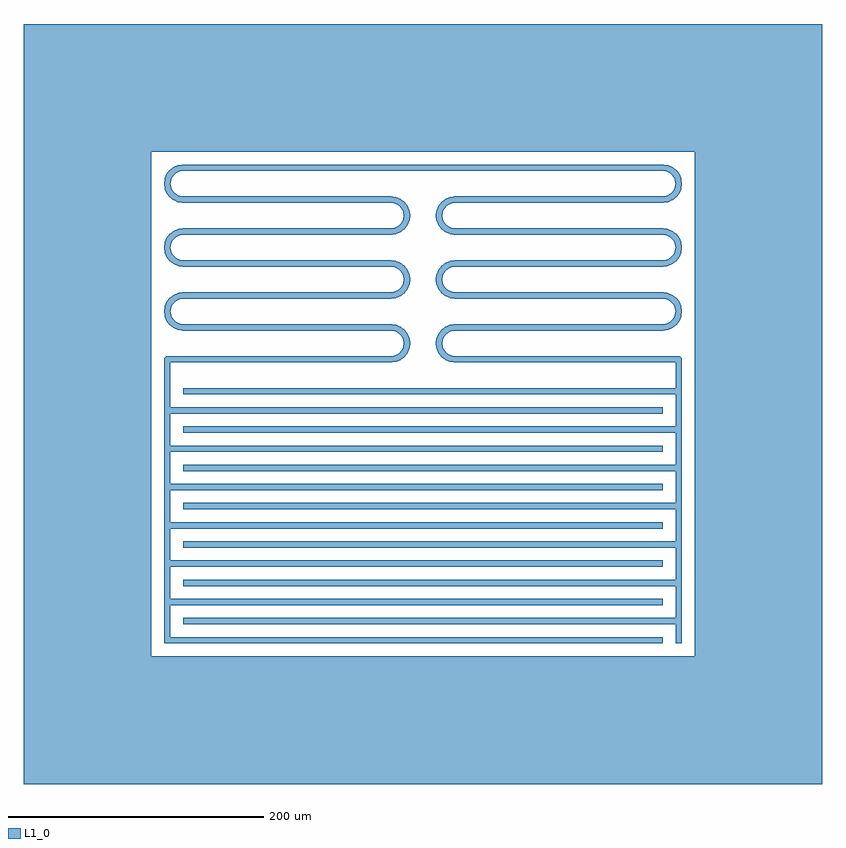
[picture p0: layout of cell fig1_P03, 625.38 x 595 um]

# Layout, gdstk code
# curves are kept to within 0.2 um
import gdstk
lib = gdstk.Library(unit=1e-6, precision=1e-09)
def R(c, l, rs):  # rectangles x0, y0, x1, y1
    for r in rs: c.add(gdstk.rectangle(r[:2], r[2:], *l))
def A(c, l, x, y, w, h, nx, ny, dx, dy):  # array of equal rectangles
    R(c, l, [(x+i*dx, y+j*dy, x+i*dx+w, y+j*dy+h) for i in range(nx) for j in range(ny)])
def P(c, l, *ps):  # polygons
    for p in ps: c.add(gdstk.Polygon(p, *l))
L1_0 = (1, 0)

fig1_p03 = lib.new_cell('fig1_P03')
A(fig1_p03, L1_0, -202.691, 0, 390.382, 5, 1, 7, 0, 30)
A(fig1_p03, L1_0, -187.691, 15, 390.382, 5, 1, 7, 0, 30)
A(fig1_p03, L1_0, -187.691, 245, 162.691, 5, 1, 5, 0, 25)
A(fig1_p03, L1_0, 25, 245, 162.691, 5, 1, 5, 0, 25)
R(fig1_p03, L1_0, [(-312.691,-110,312.691,-10), (-312.691,-10,-212.691,385), (212.691,-10,312.691,385), (-202.691,0,-197.691,200), (197.691,0,202.691,200), (-202.691,197.5,-197.691,222.5), (197.691,197.5,202.691,222.5), (-200.191,220,-25,225), (25,220,200.191,225), (-187.691,370,187.691,375), (-312.691,385,312.691,485)])
P(fig1_p03, L1_0, [(14.979,334.674),(10.021,335.326),(10.447,338.562),(15.405,337.909)],
  [(12.926,335.735),(11.158,336.467),(10.426,338.235),(11.158,340.003),(12.926,340.735),(14.694,340.003),(15.426,338.235),(14.694,336.467)],
  [(12.5,332.5),(10.732,333.232),(10,335),(10.732,336.768),(12.5,337.5),(14.268,336.768),(15,335),(14.268,333.232)],
  [(195.463,347.191),(192.419,351.158),(195.008,353.145),(198.052,349.178)],
  [(191.883,345.616),(189.97,350.236),(192.984,351.484),(194.898,346.865)],
  [(188.017,345.021),(187.365,349.979),(190.6,350.405),(191.253,345.447)],
  [(190.6,369.595),(187.365,370.021),(188.017,374.979),(191.253,374.553)],
  [(192.984,368.516),(189.97,369.764),(191.883,374.384),(194.898,373.135)],
  [(195.008,366.855),(192.419,368.842),(195.463,372.809),(198.052,370.822)],
  [(196.533,364.728),(194.546,367.317),(198.513,370.361),(200.5,367.772)],
  [(197.455,362.279),(196.207,365.293),(200.826,367.207),(202.075,364.192)],
  [(197.712,359.674),(197.286,362.909),(202.244,363.562),(202.67,360.326)],
  [(202.244,356.438),(197.286,357.091),(197.712,360.326),(202.67,359.674)],
  [(187.691,370),(185.923,370.732),(185.191,372.5),(185.923,374.268),(187.691,375),(189.459,374.268),(190.191,372.5),(189.459,370.732)],
  [(190.926,369.574),(189.158,370.306),(188.426,372.074),(189.158,373.842),(190.926,374.574),(192.694,373.842),(193.426,372.074),(192.694,370.306)],
  [(193.941,368.325),(192.173,369.058),(191.441,370.825),(192.173,372.593),(193.941,373.325),(195.709,372.593),(196.441,370.825),(195.709,369.058)],
  [(196.53,366.339),(194.762,367.071),(194.03,368.839),(194.762,370.607),(196.53,371.339),(198.298,370.607),(199.03,368.839),(198.298,367.071)],
  [(198.516,363.75),(196.749,364.482),(196.016,366.25),(196.749,368.018),(198.516,368.75),(200.284,368.018),(201.016,366.25),(200.284,364.482)],
  [(199.765,360.735),(197.997,361.467),(197.265,363.235),(197.997,365.003),(199.765,365.735),(201.533,365.003),(202.265,363.235),(201.533,361.467)],
  [(200.191,357.5),(198.423,358.232),(197.691,360),(198.423,361.768),(200.191,362.5),(201.959,361.768),(202.691,360),(201.959,358.232)],
  [(199.765,354.265),(197.997,354.997),(197.265,356.765),(197.997,358.533),(199.765,359.265),(201.533,358.533),(202.265,356.765),(201.533,354.997)],
  [(198.516,351.25),(196.749,351.982),(196.016,353.75),(196.749,355.518),(198.516,356.25),(200.284,355.518),(201.016,353.75),(200.284,351.982)],
  [(196.53,348.661),(194.762,349.393),(194.03,351.161),(194.762,352.929),(196.53,353.661),(198.298,352.929),(199.03,351.161),(198.298,349.393)],
  [(193.941,346.675),(192.173,347.407),(191.441,349.175),(192.173,350.942),(193.941,351.675),(195.709,350.942),(196.441,349.175),(195.709,347.407)],
  [(190.926,345.426),(189.158,346.158),(188.426,347.926),(189.158,349.694),(190.926,350.426),(192.694,349.694),(193.426,347.926),(192.694,346.158)],
  [(187.691,345),(185.923,345.732),(185.191,347.5),(185.923,349.268),(187.691,350),(189.459,349.268),(190.191,347.5),(189.459,345.732)],
  [(200.826,352.793),(196.207,354.707),(197.455,357.721),(202.075,355.808)],
  [(198.513,349.639),(194.546,352.683),(196.533,355.272),(200.5,352.228)],
  [(19.707,343.516),(17.793,348.135),(20.808,349.384),(22.721,344.764)],
  [(17.683,341.855),(14.639,345.822),(17.228,347.809),(20.272,343.842)],
  [(16.158,339.728),(12.191,342.772),(14.178,345.361),(18.145,342.317)],
  [(25,345),(23.232,345.732),(22.5,347.5),(23.232,349.268),(25,350),(26.768,349.268),(27.5,347.5),(26.768,345.732)],
  [(21.765,344.574),(19.997,345.306),(19.265,347.074),(19.997,348.842),(21.765,349.574),(23.533,348.842),(24.265,347.074),(23.533,345.306)],
  [(18.75,343.325),(16.982,344.058),(16.25,345.825),(16.982,347.593),(18.75,348.325),(20.518,347.593),(21.25,345.825),(20.518,344.058)],
  [(16.161,341.339),(14.393,342.071),(13.661,343.839),(14.393,345.607),(16.161,346.339),(17.929,345.607),(18.661,343.839),(17.929,342.071)],
  [(14.175,338.75),(12.407,339.482),(11.675,341.25),(12.407,343.018),(14.175,343.75),(15.942,343.018),(16.675,341.25),(15.942,339.482)],
  [(15.236,337.279),(10.616,339.192),(11.865,342.207),(16.484,340.293)],
  [(22.091,344.595),(21.438,349.553),(24.674,349.979),(25.326,345.021)],
  [(16.158,239.728),(12.191,242.772),(14.178,245.361),(18.145,242.317)],
  [(15.236,237.279),(10.616,239.192),(11.865,242.207),(16.484,240.293)],
  [(14.979,234.674),(10.021,235.326),(10.447,238.562),(15.405,237.909)],
  [(10.447,231.438),(10.021,234.674),(14.979,235.326),(15.405,232.091)],
  [(11.865,227.793),(10.616,230.808),(15.236,232.721),(16.484,229.707)],
  [(14.178,224.639),(12.191,227.228),(16.158,230.272),(18.145,227.683)],
  [(17.228,222.191),(14.639,224.178),(17.683,228.145),(20.272,226.158)],
  [(20.808,220.616),(17.793,221.865),(19.707,226.484),(22.721,225.236)],
  [(24.674,220.021),(21.438,220.447),(22.091,225.405),(25.326,224.979)],
  [(20.808,320.616),(17.793,321.865),(19.707,326.484),(22.721,325.236)],
  [(24.674,320.021),(21.438,320.447),(22.091,325.405),(25.326,324.979)],
  [(10.447,331.438),(10.021,334.674),(14.979,335.326),(15.405,332.091)],
  [(11.865,327.793),(10.616,330.808),(15.236,332.721),(16.484,329.707)],
  [(22.091,294.595),(21.438,299.553),(24.674,299.979),(25.326,295.021)],
  [(19.707,293.516),(17.793,298.135),(20.808,299.384),(22.721,294.764)],
  [(17.683,291.855),(14.639,295.822),(17.228,297.809),(20.272,293.842)],
  [(16.158,289.728),(12.191,292.772),(14.178,295.361),(18.145,292.317)],
  [(15.236,287.279),(10.616,289.192),(11.865,292.207),(16.484,290.293)],
  [(14.979,284.674),(10.021,285.326),(10.447,288.562),(15.405,287.909)],
  [(10.447,281.438),(10.021,284.674),(14.979,285.326),(15.405,282.091)],
  [(11.865,277.793),(10.616,280.808),(15.236,282.721),(16.484,279.707)],
  [(14.178,274.639),(12.191,277.228),(16.158,280.272),(18.145,277.683)],
  [(17.228,272.191),(14.639,274.178),(17.683,278.145),(20.272,276.158)],
  [(20.808,270.616),(17.793,271.865),(19.707,276.484),(22.721,275.236)],
  [(24.674,270.021),(21.438,270.447),(22.091,275.405),(25.326,274.979)],
  [(14.178,324.639),(12.191,327.228),(16.158,330.272),(18.145,327.683)],
  [(17.228,322.191),(14.639,324.178),(17.683,328.145),(20.272,326.158)],
  [(22.091,244.595),(21.438,249.553),(24.674,249.979),(25.326,245.021)],
  [(19.707,243.516),(17.793,248.135),(20.808,249.384),(22.721,244.764)],
  [(17.683,241.855),(14.639,245.822),(17.228,247.809),(20.272,243.842)],
  [(12.926,329.265),(11.158,329.997),(10.426,331.765),(11.158,333.533),(12.926,334.265),(14.694,333.533),(15.426,331.765),(14.694,329.997)],
  [(14.175,326.25),(12.407,326.982),(11.675,328.75),(12.407,330.518),(14.175,331.25),(15.942,330.518),(16.675,328.75),(15.942,326.982)],
  [(16.161,323.661),(14.393,324.393),(13.661,326.161),(14.393,327.929),(16.161,328.661),(17.929,327.929),(18.661,326.161),(17.929,324.393)],
  [(18.75,321.675),(16.982,322.407),(16.25,324.175),(16.982,325.942),(18.75,326.675),(20.518,325.942),(21.25,324.175),(20.518,322.407)],
  [(21.765,320.426),(19.997,321.158),(19.265,322.926),(19.997,324.694),(21.765,325.426),(23.533,324.694),(24.265,322.926),(23.533,321.158)],
  [(25,320),(23.232,320.732),(22.5,322.5),(23.232,324.268),(25,325),(26.768,324.268),(27.5,322.5),(26.768,320.732)],
  [(25,295),(23.232,295.732),(22.5,297.5),(23.232,299.268),(25,300),(26.768,299.268),(27.5,297.5),(26.768,295.732)],
  [(21.765,294.574),(19.997,295.306),(19.265,297.074),(19.997,298.842),(21.765,299.574),(23.533,298.842),(24.265,297.074),(23.533,295.306)],
  [(18.75,293.325),(16.982,294.058),(16.25,295.825),(16.982,297.593),(18.75,298.325),(20.518,297.593),(21.25,295.825),(20.518,294.058)],
  [(16.161,291.339),(14.393,292.071),(13.661,293.839),(14.393,295.607),(16.161,296.339),(17.929,295.607),(18.661,293.839),(17.929,292.071)],
  [(14.175,288.75),(12.407,289.482),(11.675,291.25),(12.407,293.018),(14.175,293.75),(15.942,293.018),(16.675,291.25),(15.942,289.482)],
  [(12.926,285.735),(11.158,286.467),(10.426,288.235),(11.158,290.003),(12.926,290.735),(14.694,290.003),(15.426,288.235),(14.694,286.467)],
  [(12.5,282.5),(10.732,283.232),(10,285),(10.732,286.768),(12.5,287.5),(14.268,286.768),(15,285),(14.268,283.232)],
  [(12.926,279.265),(11.158,279.997),(10.426,281.765),(11.158,283.533),(12.926,284.265),(14.694,283.533),(15.426,281.765),(14.694,279.997)],
  [(14.175,276.25),(12.407,276.982),(11.675,278.75),(12.407,280.518),(14.175,281.25),(15.942,280.518),(16.675,278.75),(15.942,276.982)],
  [(16.161,273.661),(14.393,274.393),(13.661,276.161),(14.393,277.929),(16.161,278.661),(17.929,277.929),(18.661,276.161),(17.929,274.393)],
  [(18.75,271.675),(16.982,272.407),(16.25,274.175),(16.982,275.942),(18.75,276.675),(20.518,275.942),(21.25,274.175),(20.518,272.407)],
  [(21.765,270.426),(19.997,271.158),(19.265,272.926),(19.997,274.694),(21.765,275.426),(23.533,274.694),(24.265,272.926),(23.533,271.158)],
  [(25,270),(23.232,270.732),(22.5,272.5),(23.232,274.268),(25,275),(26.768,274.268),(27.5,272.5),(26.768,270.732)],
  [(25,245),(23.232,245.732),(22.5,247.5),(23.232,249.268),(25,250),(26.768,249.268),(27.5,247.5),(26.768,245.732)],
  [(21.765,244.574),(19.997,245.306),(19.265,247.074),(19.997,248.842),(21.765,249.574),(23.533,248.842),(24.265,247.074),(23.533,245.306)],
  [(18.75,243.325),(16.982,244.058),(16.25,245.825),(16.982,247.593),(18.75,248.325),(20.518,247.593),(21.25,245.825),(20.518,244.058)],
  [(16.161,241.339),(14.393,242.071),(13.661,243.839),(14.393,245.607),(16.161,246.339),(17.929,245.607),(18.661,243.839),(17.929,242.071)],
  [(14.175,238.75),(12.407,239.482),(11.675,241.25),(12.407,243.018),(14.175,243.75),(15.942,243.018),(16.675,241.25),(15.942,239.482)],
  [(12.926,235.735),(11.158,236.467),(10.426,238.235),(11.158,240.003),(12.926,240.735),(14.694,240.003),(15.426,238.235),(14.694,236.467)],
  [(12.5,232.5),(10.732,233.232),(10,235),(10.732,236.768),(12.5,237.5),(14.268,236.768),(15,235),(14.268,233.232)],
  [(12.926,229.265),(11.158,229.997),(10.426,231.765),(11.158,233.533),(12.926,234.265),(14.694,233.533),(15.426,231.765),(14.694,229.997)],
  [(14.175,226.25),(12.407,226.982),(11.675,228.75),(12.407,230.518),(14.175,231.25),(15.942,230.518),(16.675,228.75),(15.942,226.982)],
  [(16.161,223.661),(14.393,224.393),(13.661,226.161),(14.393,227.929),(16.161,228.661),(17.929,227.929),(18.661,226.161),(17.929,224.393)],
  [(18.75,221.675),(16.982,222.407),(16.25,224.175),(16.982,225.942),(18.75,226.675),(20.518,225.942),(21.25,224.175),(20.518,222.407)],
  [(21.765,220.426),(19.997,221.158),(19.265,222.926),(19.997,224.694),(21.765,225.426),(23.533,224.694),(24.265,222.926),(23.533,221.158)],
  [(25,220),(23.232,220.732),(22.5,222.5),(23.232,224.268),(25,225),(26.768,224.268),(27.5,222.5),(26.768,220.732)],
  [(190.926,319.574),(189.158,320.306),(188.426,322.074),(189.158,323.842),(190.926,324.574),(192.694,323.842),(193.426,322.074),(192.694,320.306)],
  [(193.941,318.325),(192.173,319.058),(191.441,320.825),(192.173,322.593),(193.941,323.325),(195.709,322.593),(196.441,320.825),(195.709,319.058)],
  [(196.53,316.339),(194.762,317.071),(194.03,318.839),(194.762,320.607),(196.53,321.339),(198.298,320.607),(199.03,318.839),(198.298,317.071)],
  [(198.516,313.75),(196.749,314.482),(196.016,316.25),(196.749,318.018),(198.516,318.75),(200.284,318.018),(201.016,316.25),(200.284,314.482)],
  [(199.765,310.735),(197.997,311.467),(197.265,313.235),(197.997,315.003),(199.765,315.735),(201.533,315.003),(202.265,313.235),(201.533,311.467)],
  [(200.191,307.5),(198.423,308.232),(197.691,310),(198.423,311.768),(200.191,312.5),(201.959,311.768),(202.691,310),(201.959,308.232)],
  [(199.765,304.265),(197.997,304.997),(197.265,306.765),(197.997,308.533),(199.765,309.265),(201.533,308.533),(202.265,306.765),(201.533,304.997)],
  [(198.516,301.25),(196.749,301.982),(196.016,303.75),(196.749,305.518),(198.516,306.25),(200.284,305.518),(201.016,303.75),(200.284,301.982)],
  [(196.53,298.661),(194.762,299.393),(194.03,301.161),(194.762,302.929),(196.53,303.661),(198.298,302.929),(199.03,301.161),(198.298,299.393)],
  [(193.941,296.675),(192.173,297.407),(191.441,299.175),(192.173,300.942),(193.941,301.675),(195.709,300.942),(196.441,299.175),(195.709,297.407)],
  [(190.926,295.426),(189.158,296.158),(188.426,297.926),(189.158,299.694),(190.926,300.426),(192.694,299.694),(193.426,297.926),(192.694,296.158)],
  [(187.691,295),(185.923,295.732),(185.191,297.5),(185.923,299.268),(187.691,300),(189.459,299.268),(190.191,297.5),(189.459,295.732)],
  [(195.008,266.855),(192.419,268.842),(195.463,272.809),(198.052,270.822)],
  [(196.533,264.728),(194.546,267.317),(198.513,270.361),(200.5,267.772)],
  [(197.455,262.279),(196.207,265.293),(200.826,267.207),(202.075,264.192)],
  [(197.712,259.674),(197.286,262.909),(202.244,263.562),(202.67,260.326)],
  [(202.244,256.438),(197.286,257.091),(197.712,260.326),(202.67,259.674)],
  [(200.826,252.793),(196.207,254.707),(197.455,257.721),(202.075,255.808)],
  [(198.513,249.639),(194.546,252.683),(196.533,255.272),(200.5,252.228)],
  [(195.463,247.191),(192.419,251.158),(195.008,253.145),(198.052,249.178)],
  [(191.883,245.616),(189.97,250.236),(192.984,251.484),(194.898,246.865)],
  [(188.017,245.021),(187.365,249.979),(190.6,250.405),(191.253,245.447)],
  [(190.6,319.595),(187.365,320.021),(188.017,324.979),(191.253,324.553)],
  [(192.984,318.516),(189.97,319.764),(191.883,324.384),(194.898,323.135)],
  [(195.008,316.855),(192.419,318.842),(195.463,322.809),(198.052,320.822)],
  [(187.691,270),(185.923,270.732),(185.191,272.5),(185.923,274.268),(187.691,275),(189.459,274.268),(190.191,272.5),(189.459,270.732)],
  [(190.926,269.574),(189.158,270.306),(188.426,272.074),(189.158,273.842),(190.926,274.574),(192.694,273.842),(193.426,272.074),(192.694,270.306)],
  [(193.941,268.325),(192.173,269.058),(191.441,270.825),(192.173,272.593),(193.941,273.325),(195.709,272.593),(196.441,270.825),(195.709,269.058)],
  [(196.53,266.339),(194.762,267.071),(194.03,268.839),(194.762,270.607),(196.53,271.339),(198.298,270.607),(199.03,268.839),(198.298,267.071)],
  [(198.516,263.75),(196.749,264.482),(196.016,266.25),(196.749,268.018),(198.516,268.75),(200.284,268.018),(201.016,266.25),(200.284,264.482)],
  [(199.765,260.735),(197.997,261.467),(197.265,263.235),(197.997,265.003),(199.765,265.735),(201.533,265.003),(202.265,263.235),(201.533,261.467)],
  [(200.191,257.5),(198.423,258.232),(197.691,260),(198.423,261.768),(200.191,262.5),(201.959,261.768),(202.691,260),(201.959,258.232)],
  [(199.765,254.265),(197.997,254.997),(197.265,256.765),(197.997,258.533),(199.765,259.265),(201.533,258.533),(202.265,256.765),(201.533,254.997)],
  [(198.516,251.25),(196.749,251.982),(196.016,253.75),(196.749,255.518),(198.516,256.25),(200.284,255.518),(201.016,253.75),(200.284,251.982)],
  [(196.53,248.661),(194.762,249.393),(194.03,251.161),(194.762,252.929),(196.53,253.661),(198.298,252.929),(199.03,251.161),(198.298,249.393)],
  [(193.941,246.675),(192.173,247.407),(191.441,249.175),(192.173,250.942),(193.941,251.675),(195.709,250.942),(196.441,249.175),(195.709,247.407)],
  [(190.926,245.426),(189.158,246.158),(188.426,247.926),(189.158,249.694),(190.926,250.426),(192.694,249.694),(193.426,247.926),(192.694,246.158)],
  [(187.691,245),(185.923,245.732),(185.191,247.5),(185.923,249.268),(187.691,250),(189.459,249.268),(190.191,247.5),(189.459,245.732)],
  [(196.533,314.728),(194.546,317.317),(198.513,320.361),(200.5,317.772)],
  [(197.455,312.279),(196.207,315.293),(200.826,317.207),(202.075,314.192)],
  [(197.712,309.674),(197.286,312.909),(202.244,313.562),(202.67,310.326)],
  [(202.244,306.438),(197.286,307.091),(197.712,310.326),(202.67,309.674)],
  [(200.826,302.793),(196.207,304.707),(197.455,307.721),(202.075,305.808)],
  [(198.513,299.639),(194.546,302.683),(196.533,305.272),(200.5,302.228)],
  [(195.463,297.191),(192.419,301.158),(195.008,303.145),(198.052,299.178)],
  [(191.883,295.616),(189.97,300.236),(192.984,301.484),(194.898,296.865)],
  [(188.017,295.021),(187.365,299.979),(190.6,300.405),(191.253,295.447)],
  [(190.6,269.595),(187.365,270.021),(188.017,274.979),(191.253,274.553)],
  [(192.984,268.516),(189.97,269.764),(191.883,274.384),(194.898,273.135)],
  [(187.691,320),(185.923,320.732),(185.191,322.5),(185.923,324.268),(187.691,325),(189.459,324.268),(190.191,322.5),(189.459,320.732)],
  [(200.191,220),(198.423,220.732),(197.691,222.5),(198.423,224.268),(200.191,225),(201.959,224.268),(202.691,222.5),(201.959,220.732)],
  [(-12.5,332.5),(-14.268,333.232),(-15,335),(-14.268,336.768),(-12.5,337.5),(-10.732,336.768),(-10,335),(-10.732,333.232)],
  [(-12.926,335.735),(-14.694,336.467),(-15.426,338.235),(-14.694,340.003),(-12.926,340.735),(-11.158,340.003),(-10.426,338.235),(-11.158,336.467)],
  [(-14.979,334.674),(-15.405,337.909),(-10.447,338.562),(-10.021,335.326)],
  [(-18.75,343.325),(-20.518,344.058),(-21.25,345.825),(-20.518,347.593),(-18.75,348.325),(-16.982,347.593),(-16.25,345.825),(-16.982,344.058)],
  [(-21.765,344.574),(-23.533,345.306),(-24.265,347.074),(-23.533,348.842),(-21.765,349.574),(-19.997,348.842),(-19.265,347.074),(-19.997,345.306)],
  [(-25,345),(-26.768,345.732),(-27.5,347.5),(-26.768,349.268),(-25,350),(-23.232,349.268),(-22.5,347.5),(-23.232,345.732)],
  [(-14.175,338.75),(-15.942,339.482),(-16.675,341.25),(-15.942,343.018),(-14.175,343.75),(-12.407,343.018),(-11.675,341.25),(-12.407,339.482)],
  [(-15.236,337.279),(-16.484,340.293),(-11.865,342.207),(-10.616,339.192)],
  [(-16.158,339.728),(-18.145,342.317),(-14.178,345.361),(-12.191,342.772)],
  [(-17.683,341.855),(-20.272,343.842),(-17.228,347.809),(-14.639,345.822)],
  [(-19.707,343.516),(-22.721,344.764),(-20.808,349.384),(-17.793,348.135)],
  [(-22.091,344.595),(-25.326,345.021),(-24.674,349.979),(-21.438,349.553)],
  [(-16.161,341.339),(-17.929,342.071),(-18.661,343.839),(-17.929,345.607),(-16.161,346.339),(-14.393,345.607),(-13.661,343.839),(-14.393,342.071)],
  [(-187.691,370),(-189.459,370.732),(-190.191,372.5),(-189.459,374.268),(-187.691,375),(-185.923,374.268),(-185.191,372.5),(-185.923,370.732)],
  [(-187.691,345),(-189.459,345.732),(-190.191,347.5),(-189.459,349.268),(-187.691,350),(-185.923,349.268),(-185.191,347.5),(-185.923,345.732)],
  [(-190.926,345.426),(-192.694,346.158),(-193.426,347.926),(-192.694,349.694),(-190.926,350.426),(-189.158,349.694),(-188.426,347.926),(-189.158,346.158)],
  [(-193.941,346.675),(-195.709,347.407),(-196.441,349.175),(-195.709,350.942),(-193.941,351.675),(-192.173,350.942),(-191.441,349.175),(-192.173,347.407)],
  [(-196.53,348.661),(-198.298,349.393),(-199.03,351.161),(-198.298,352.929),(-196.53,353.661),(-194.762,352.929),(-194.03,351.161),(-194.762,349.393)],
  [(-198.516,351.25),(-200.284,351.982),(-201.016,353.75),(-200.284,355.518),(-198.516,356.25),(-196.749,355.518),(-196.016,353.75),(-196.749,351.982)],
  [(-199.765,354.265),(-201.533,354.997),(-202.265,356.765),(-201.533,358.533),(-199.765,359.265),(-197.997,358.533),(-197.265,356.765),(-197.997,354.997)],
  [(-200.191,357.5),(-201.959,358.232),(-202.691,360),(-201.959,361.768),(-200.191,362.5),(-198.423,361.768),(-197.691,360),(-198.423,358.232)],
  [(-199.765,360.735),(-201.533,361.467),(-202.265,363.235),(-201.533,365.003),(-199.765,365.735),(-197.997,365.003),(-197.265,363.235),(-197.997,361.467)],
  [(-198.516,363.75),(-200.284,364.482),(-201.016,366.25),(-200.284,368.018),(-198.516,368.75),(-196.749,368.018),(-196.016,366.25),(-196.749,364.482)],
  [(-196.53,366.339),(-198.298,367.071),(-199.03,368.839),(-198.298,370.607),(-196.53,371.339),(-194.762,370.607),(-194.03,368.839),(-194.762,367.071)],
  [(-193.941,368.325),(-195.709,369.058),(-196.441,370.825),(-195.709,372.593),(-193.941,373.325),(-192.173,372.593),(-191.441,370.825),(-192.173,369.058)],
  [(-190.926,369.574),(-192.694,370.306),(-193.426,372.074),(-192.694,373.842),(-190.926,374.574),(-189.158,373.842),(-188.426,372.074),(-189.158,370.306)],
  [(-188.017,345.021),(-191.253,345.447),(-190.6,350.405),(-187.365,349.979)],
  [(-191.883,345.616),(-194.898,346.865),(-192.984,351.484),(-189.97,350.236)],
  [(-195.463,347.191),(-198.052,349.178),(-195.008,353.145),(-192.419,351.158)],
  [(-198.513,349.639),(-200.5,352.228),(-196.533,355.272),(-194.546,352.683)],
  [(-200.826,352.793),(-202.075,355.808),(-197.455,357.721),(-196.207,354.707)],
  [(-202.244,356.438),(-202.67,359.674),(-197.712,360.326),(-197.286,357.091)],
  [(-197.712,359.674),(-202.67,360.326),(-202.244,363.562),(-197.286,362.909)],
  [(-197.455,362.279),(-202.075,364.192),(-200.826,367.207),(-196.207,365.293)],
  [(-196.533,364.728),(-200.5,367.772),(-198.513,370.361),(-194.546,367.317)],
  [(-195.008,366.855),(-198.052,370.822),(-195.463,372.809),(-192.419,368.842)],
  [(-192.984,368.516),(-194.898,373.135),(-191.883,374.384),(-189.97,369.764)],
  [(-190.6,369.595),(-191.253,374.553),(-188.017,374.979),(-187.365,370.021)],
  [(-196.53,298.661),(-198.298,299.393),(-199.03,301.161),(-198.298,302.929),(-196.53,303.661),(-194.762,302.929),(-194.03,301.161),(-194.762,299.393)],
  [(-198.516,301.25),(-200.284,301.982),(-201.016,303.75),(-200.284,305.518),(-198.516,306.25),(-196.749,305.518),(-196.016,303.75),(-196.749,301.982)],
  [(-199.765,304.265),(-201.533,304.997),(-202.265,306.765),(-201.533,308.533),(-199.765,309.265),(-197.997,308.533),(-197.265,306.765),(-197.997,304.997)],
  [(-200.191,307.5),(-201.959,308.232),(-202.691,310),(-201.959,311.768),(-200.191,312.5),(-198.423,311.768),(-197.691,310),(-198.423,308.232)],
  [(-199.765,310.735),(-201.533,311.467),(-202.265,313.235),(-201.533,315.003),(-199.765,315.735),(-197.997,315.003),(-197.265,313.235),(-197.997,311.467)],
  [(-188.017,245.021),(-191.253,245.447),(-190.6,250.405),(-187.365,249.979)],
  [(-191.883,245.616),(-194.898,246.865),(-192.984,251.484),(-189.97,250.236)],
  [(-195.463,247.191),(-198.052,249.178),(-195.008,253.145),(-192.419,251.158)],
  [(-198.513,249.639),(-200.5,252.228),(-196.533,255.272),(-194.546,252.683)],
  [(-200.826,252.793),(-202.075,255.808),(-197.455,257.721),(-196.207,254.707)],
  [(-202.244,256.438),(-202.67,259.674),(-197.712,260.326),(-197.286,257.091)],
  [(-197.712,259.674),(-202.67,260.326),(-202.244,263.562),(-197.286,262.909)],
  [(-197.455,262.279),(-202.075,264.192),(-200.826,267.207),(-196.207,265.293)],
  [(-196.533,264.728),(-200.5,267.772),(-198.513,270.361),(-194.546,267.317)],
  [(-195.008,266.855),(-198.052,270.822),(-195.463,272.809),(-192.419,268.842)],
  [(-192.984,268.516),(-194.898,273.135),(-191.883,274.384),(-189.97,269.764)],
  [(-190.6,269.595),(-191.253,274.553),(-188.017,274.979),(-187.365,270.021)],
  [(-198.516,313.75),(-200.284,314.482),(-201.016,316.25),(-200.284,318.018),(-198.516,318.75),(-196.749,318.018),(-196.016,316.25),(-196.749,314.482)],
  [(-196.53,316.339),(-198.298,317.071),(-199.03,318.839),(-198.298,320.607),(-196.53,321.339),(-194.762,320.607),(-194.03,318.839),(-194.762,317.071)],
  [(-188.017,295.021),(-191.253,295.447),(-190.6,300.405),(-187.365,299.979)],
  [(-191.883,295.616),(-194.898,296.865),(-192.984,301.484),(-189.97,300.236)],
  [(-195.463,297.191),(-198.052,299.178),(-195.008,303.145),(-192.419,301.158)],
  [(-198.513,299.639),(-200.5,302.228),(-196.533,305.272),(-194.546,302.683)],
  [(-200.826,302.793),(-202.075,305.808),(-197.455,307.721),(-196.207,304.707)],
  [(-202.244,306.438),(-202.67,309.674),(-197.712,310.326),(-197.286,307.091)],
  [(-197.712,309.674),(-202.67,310.326),(-202.244,313.562),(-197.286,312.909)],
  [(-197.455,312.279),(-202.075,314.192),(-200.826,317.207),(-196.207,315.293)],
  [(-196.533,314.728),(-200.5,317.772),(-198.513,320.361),(-194.546,317.317)],
  [(-195.008,316.855),(-198.052,320.822),(-195.463,322.809),(-192.419,318.842)],
  [(-192.984,318.516),(-194.898,323.135),(-191.883,324.384),(-189.97,319.764)],
  [(-190.6,319.595),(-191.253,324.553),(-188.017,324.979),(-187.365,320.021)],
  [(-193.941,318.325),(-195.709,319.058),(-196.441,320.825),(-195.709,322.593),(-193.941,323.325),(-192.173,322.593),(-191.441,320.825),(-192.173,319.058)],
  [(-190.926,319.574),(-192.694,320.306),(-193.426,322.074),(-192.694,323.842),(-190.926,324.574),(-189.158,323.842),(-188.426,322.074),(-189.158,320.306)],
  [(-187.691,320),(-189.459,320.732),(-190.191,322.5),(-189.459,324.268),(-187.691,325),(-185.923,324.268),(-185.191,322.5),(-185.923,320.732)],
  [(-200.191,220),(-201.959,220.732),(-202.691,222.5),(-201.959,224.268),(-200.191,225),(-198.423,224.268),(-197.691,222.5),(-198.423,220.732)],
  [(-187.691,245),(-189.459,245.732),(-190.191,247.5),(-189.459,249.268),(-187.691,250),(-185.923,249.268),(-185.191,247.5),(-185.923,245.732)],
  [(-190.926,245.426),(-192.694,246.158),(-193.426,247.926),(-192.694,249.694),(-190.926,250.426),(-189.158,249.694),(-188.426,247.926),(-189.158,246.158)],
  [(-193.941,246.675),(-195.709,247.407),(-196.441,249.175),(-195.709,250.942),(-193.941,251.675),(-192.173,250.942),(-191.441,249.175),(-192.173,247.407)],
  [(-196.53,248.661),(-198.298,249.393),(-199.03,251.161),(-198.298,252.929),(-196.53,253.661),(-194.762,252.929),(-194.03,251.161),(-194.762,249.393)],
  [(-198.516,251.25),(-200.284,251.982),(-201.016,253.75),(-200.284,255.518),(-198.516,256.25),(-196.749,255.518),(-196.016,253.75),(-196.749,251.982)],
  [(-199.765,254.265),(-201.533,254.997),(-202.265,256.765),(-201.533,258.533),(-199.765,259.265),(-197.997,258.533),(-197.265,256.765),(-197.997,254.997)],
  [(-200.191,257.5),(-201.959,258.232),(-202.691,260),(-201.959,261.768),(-200.191,262.5),(-198.423,261.768),(-197.691,260),(-198.423,258.232)],
  [(-199.765,260.735),(-201.533,261.467),(-202.265,263.235),(-201.533,265.003),(-199.765,265.735),(-197.997,265.003),(-197.265,263.235),(-197.997,261.467)],
  [(-198.516,263.75),(-200.284,264.482),(-201.016,266.25),(-200.284,268.018),(-198.516,268.75),(-196.749,268.018),(-196.016,266.25),(-196.749,264.482)],
  [(-196.53,266.339),(-198.298,267.071),(-199.03,268.839),(-198.298,270.607),(-196.53,271.339),(-194.762,270.607),(-194.03,268.839),(-194.762,267.071)],
  [(-193.941,268.325),(-195.709,269.058),(-196.441,270.825),(-195.709,272.593),(-193.941,273.325),(-192.173,272.593),(-191.441,270.825),(-192.173,269.058)],
  [(-190.926,269.574),(-192.694,270.306),(-193.426,272.074),(-192.694,273.842),(-190.926,274.574),(-189.158,273.842),(-188.426,272.074),(-189.158,270.306)],
  [(-187.691,270),(-189.459,270.732),(-190.191,272.5),(-189.459,274.268),(-187.691,275),(-185.923,274.268),(-185.191,272.5),(-185.923,270.732)],
  [(-187.691,295),(-189.459,295.732),(-190.191,297.5),(-189.459,299.268),(-187.691,300),(-185.923,299.268),(-185.191,297.5),(-185.923,295.732)],
  [(-190.926,295.426),(-192.694,296.158),(-193.426,297.926),(-192.694,299.694),(-190.926,300.426),(-189.158,299.694),(-188.426,297.926),(-189.158,296.158)],
  [(-193.941,296.675),(-195.709,297.407),(-196.441,299.175),(-195.709,300.942),(-193.941,301.675),(-192.173,300.942),(-191.441,299.175),(-192.173,297.407)],
  [(-25,245),(-26.768,245.732),(-27.5,247.5),(-26.768,249.268),(-25,250),(-23.232,249.268),(-22.5,247.5),(-23.232,245.732)],
  [(-25,320),(-26.768,320.732),(-27.5,322.5),(-26.768,324.268),(-25,325),(-23.232,324.268),(-22.5,322.5),(-23.232,320.732)],
  [(-21.765,320.426),(-23.533,321.158),(-24.265,322.926),(-23.533,324.694),(-21.765,325.426),(-19.997,324.694),(-19.265,322.926),(-19.997,321.158)],
  [(-18.75,321.675),(-20.518,322.407),(-21.25,324.175),(-20.518,325.942),(-18.75,326.675),(-16.982,325.942),(-16.25,324.175),(-16.982,322.407)],
  [(-16.161,323.661),(-17.929,324.393),(-18.661,326.161),(-17.929,327.929),(-16.161,328.661),(-14.393,327.929),(-13.661,326.161),(-14.393,324.393)],
  [(-14.175,326.25),(-15.942,326.982),(-16.675,328.75),(-15.942,330.518),(-14.175,331.25),(-12.407,330.518),(-11.675,328.75),(-12.407,326.982)],
  [(-12.926,329.265),(-14.694,329.997),(-15.426,331.765),(-14.694,333.533),(-12.926,334.265),(-11.158,333.533),(-10.426,331.765),(-11.158,329.997)],
  [(-25,270),(-26.768,270.732),(-27.5,272.5),(-26.768,274.268),(-25,275),(-23.232,274.268),(-22.5,272.5),(-23.232,270.732)],
  [(-21.765,270.426),(-23.533,271.158),(-24.265,272.926),(-23.533,274.694),(-21.765,275.426),(-19.997,274.694),(-19.265,272.926),(-19.997,271.158)],
  [(-18.75,271.675),(-20.518,272.407),(-21.25,274.175),(-20.518,275.942),(-18.75,276.675),(-16.982,275.942),(-16.25,274.175),(-16.982,272.407)],
  [(-16.161,273.661),(-17.929,274.393),(-18.661,276.161),(-17.929,277.929),(-16.161,278.661),(-14.393,277.929),(-13.661,276.161),(-14.393,274.393)],
  [(-24.674,270.021),(-25.326,274.979),(-22.091,275.405),(-21.438,270.447)],
  [(-20.808,270.616),(-22.721,275.236),(-19.707,276.484),(-17.793,271.865)],
  [(-17.228,272.191),(-20.272,276.158),(-17.683,278.145),(-14.639,274.178)],
  [(-14.178,274.639),(-18.145,277.683),(-16.158,280.272),(-12.191,277.228)],
  [(-11.865,277.793),(-16.484,279.707),(-15.236,282.721),(-10.616,280.808)],
  [(-10.447,281.438),(-15.405,282.091),(-14.979,285.326),(-10.021,284.674)],
  [(-14.979,284.674),(-15.405,287.909),(-10.447,288.562),(-10.021,285.326)],
  [(-15.236,287.279),(-16.484,290.293),(-11.865,292.207),(-10.616,289.192)],
  [(-16.158,289.728),(-18.145,292.317),(-14.178,295.361),(-12.191,292.772)],
  [(-17.683,291.855),(-20.272,293.842),(-17.228,297.809),(-14.639,295.822)],
  [(-19.707,293.516),(-22.721,294.764),(-20.808,299.384),(-17.793,298.135)],
  [(-22.091,294.595),(-25.326,295.021),(-24.674,299.979),(-21.438,299.553)],
  [(-14.175,276.25),(-15.942,276.982),(-16.675,278.75),(-15.942,280.518),(-14.175,281.25),(-12.407,280.518),(-11.675,278.75),(-12.407,276.982)],
  [(-12.926,279.265),(-14.694,279.997),(-15.426,281.765),(-14.694,283.533),(-12.926,284.265),(-11.158,283.533),(-10.426,281.765),(-11.158,279.997)],
  [(-12.5,282.5),(-14.268,283.232),(-15,285),(-14.268,286.768),(-12.5,287.5),(-10.732,286.768),(-10,285),(-10.732,283.232)],
  [(-12.926,285.735),(-14.694,286.467),(-15.426,288.235),(-14.694,290.003),(-12.926,290.735),(-11.158,290.003),(-10.426,288.235),(-11.158,286.467)],
  [(-14.175,288.75),(-15.942,289.482),(-16.675,291.25),(-15.942,293.018),(-14.175,293.75),(-12.407,293.018),(-11.675,291.25),(-12.407,289.482)],
  [(-16.161,291.339),(-17.929,292.071),(-18.661,293.839),(-17.929,295.607),(-16.161,296.339),(-14.393,295.607),(-13.661,293.839),(-14.393,292.071)],
  [(-18.75,293.325),(-20.518,294.058),(-21.25,295.825),(-20.518,297.593),(-18.75,298.325),(-16.982,297.593),(-16.25,295.825),(-16.982,294.058)],
  [(-21.765,294.574),(-23.533,295.306),(-24.265,297.074),(-23.533,298.842),(-21.765,299.574),(-19.997,298.842),(-19.265,297.074),(-19.997,295.306)],
  [(-25,295),(-26.768,295.732),(-27.5,297.5),(-26.768,299.268),(-25,300),(-23.232,299.268),(-22.5,297.5),(-23.232,295.732)],
  [(-25,220),(-26.768,220.732),(-27.5,222.5),(-26.768,224.268),(-25,225),(-23.232,224.268),(-22.5,222.5),(-23.232,220.732)],
  [(-21.765,220.426),(-23.533,221.158),(-24.265,222.926),(-23.533,224.694),(-21.765,225.426),(-19.997,224.694),(-19.265,222.926),(-19.997,221.158)],
  [(-18.75,221.675),(-20.518,222.407),(-21.25,224.175),(-20.518,225.942),(-18.75,226.675),(-16.982,225.942),(-16.25,224.175),(-16.982,222.407)],
  [(-16.161,223.661),(-17.929,224.393),(-18.661,226.161),(-17.929,227.929),(-16.161,228.661),(-14.393,227.929),(-13.661,226.161),(-14.393,224.393)],
  [(-14.175,226.25),(-15.942,226.982),(-16.675,228.75),(-15.942,230.518),(-14.175,231.25),(-12.407,230.518),(-11.675,228.75),(-12.407,226.982)],
  [(-24.674,320.021),(-25.326,324.979),(-22.091,325.405),(-21.438,320.447)],
  [(-20.808,320.616),(-22.721,325.236),(-19.707,326.484),(-17.793,321.865)],
  [(-17.228,322.191),(-20.272,326.158),(-17.683,328.145),(-14.639,324.178)],
  [(-14.178,324.639),(-18.145,327.683),(-16.158,330.272),(-12.191,327.228)],
  [(-11.865,327.793),(-16.484,329.707),(-15.236,332.721),(-10.616,330.808)],
  [(-10.447,331.438),(-15.405,332.091),(-14.979,335.326),(-10.021,334.674)],
  [(-12.926,229.265),(-14.694,229.997),(-15.426,231.765),(-14.694,233.533),(-12.926,234.265),(-11.158,233.533),(-10.426,231.765),(-11.158,229.997)],
  [(-12.5,232.5),(-14.268,233.232),(-15,235),(-14.268,236.768),(-12.5,237.5),(-10.732,236.768),(-10,235),(-10.732,233.232)],
  [(-12.926,235.735),(-14.694,236.467),(-15.426,238.235),(-14.694,240.003),(-12.926,240.735),(-11.158,240.003),(-10.426,238.235),(-11.158,236.467)],
  [(-14.175,238.75),(-15.942,239.482),(-16.675,241.25),(-15.942,243.018),(-14.175,243.75),(-12.407,243.018),(-11.675,241.25),(-12.407,239.482)],
  [(-24.674,220.021),(-25.326,224.979),(-22.091,225.405),(-21.438,220.447)],
  [(-20.808,220.616),(-22.721,225.236),(-19.707,226.484),(-17.793,221.865)],
  [(-17.228,222.191),(-20.272,226.158),(-17.683,228.145),(-14.639,224.178)],
  [(-14.178,224.639),(-18.145,227.683),(-16.158,230.272),(-12.191,227.228)],
  [(-11.865,227.793),(-16.484,229.707),(-15.236,232.721),(-10.616,230.808)],
  [(-10.447,231.438),(-15.405,232.091),(-14.979,235.326),(-10.021,234.674)],
  [(-14.979,234.674),(-15.405,237.909),(-10.447,238.562),(-10.021,235.326)],
  [(-15.236,237.279),(-16.484,240.293),(-11.865,242.207),(-10.616,239.192)],
  [(-16.158,239.728),(-18.145,242.317),(-14.178,245.361),(-12.191,242.772)],
  [(-17.683,241.855),(-20.272,243.842),(-17.228,247.809),(-14.639,245.822)],
  [(-19.707,243.516),(-22.721,244.764),(-20.808,249.384),(-17.793,248.135)],
  [(-22.091,244.595),(-25.326,245.021),(-24.674,249.979),(-21.438,249.553)],
  [(-16.161,241.339),(-17.929,242.071),(-18.661,243.839),(-17.929,245.607),(-16.161,246.339),(-14.393,245.607),(-13.661,243.839),(-14.393,242.071)],
  [(-18.75,243.325),(-20.518,244.058),(-21.25,245.825),(-20.518,247.593),(-18.75,248.325),(-16.982,247.593),(-16.25,245.825),(-16.982,244.058)],
  [(-21.765,244.574),(-23.533,245.306),(-24.265,247.074),(-23.533,248.842),(-21.765,249.574),(-19.997,248.842),(-19.265,247.074),(-19.997,245.306)])

lib.write_gds('fig1_P03.gds')
